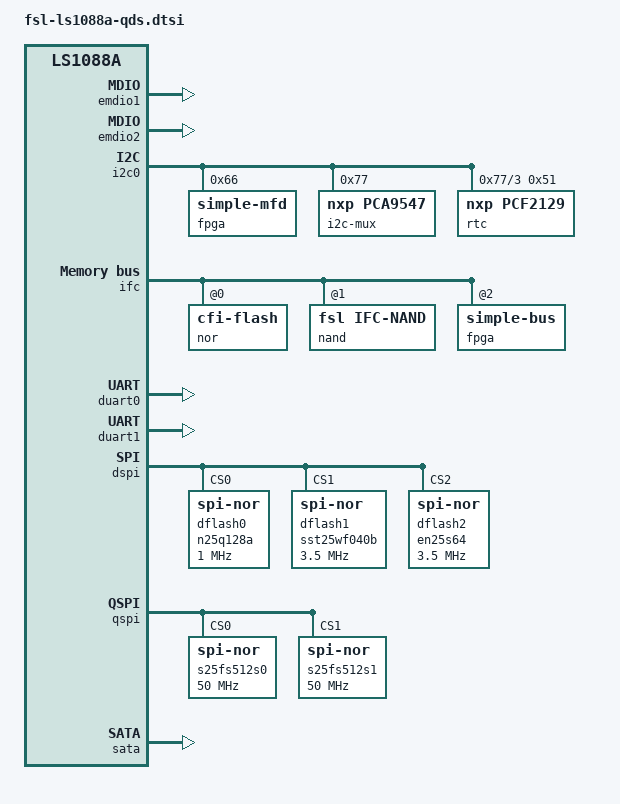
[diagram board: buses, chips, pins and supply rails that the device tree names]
// SPDX-License-Identifier: GPL-2.0+ OR X11
/*
 * NXP ls1088a QDS common board device tree source
 *
 * Copyright 2017-2020 NXP
 */

#include "fsl-ls1088a.dtsi"

/ {
	aliases {
		spi0 = &qspi;
		spi1 = &dspi;
	};
};

&emdio1 {
	status = "okay";
};

&emdio2 {
	status = "okay";
};

&i2c0 {
	status = "okay";
	bootph-all;

	fpga@66 {
		#address-cells = <1>;
		#size-cells = <0>;
		compatible = "simple-mfd";
		reg = <0x66>;

		mux-mdio@54 {
			#address-cells = <1>;
			#size-cells = <0>;
			compatible = "mdio-mux-i2creg";
			reg = <0x54>;
			#mux-control-cells = <1>;
			mux-reg-masks = <0x54 0xe0>; // reg 0x54, bits 7:5
			mdio-parent-bus = <&emdio1>;

			mdio@00 {
				#address-cells = <1>;
				#size-cells = <0>;
				reg = <0x00>;

				rgmii_phy1: ethernet-phy@1 {
					reg = <0x1>;
				};
			};
			mdio@20 {
				#address-cells = <1>;
				#size-cells = <0>;
				reg = <0x20>;

				rgmii_phy2: ethernet-phy@2 {
					reg = <0x2>;
				};
			};

			emdio1_slot1: mdio@40 { /* I/O Slot #1 */
				reg = <0x40>;
				device-name = "emdio1_slot1";
				#address-cells = <1>;
				#size-cells = <0>;
			};

			emdio1_slot3: mdio@60 { /* I/O Slot #3 */
				reg = <0x60>;
				device-name = "emdio1_slot3";
				#address-cells = <1>;
				#size-cells = <0>;
			};
		};
	};

	i2c-mux@77 {
		compatible = "nxp,pca9547";
		reg = <0x77>;
		#address-cells = <1>;
		#size-cells = <0>;

		i2c@3 {
			#address-cells = <1>;
			#size-cells = <0>;
			reg = <0x3>;

			rtc@51 {
				compatible = "nxp,pcf2129";
				reg = <0x51>;
			};
		};
	};
};

&ifc {
	#address-cells = <2>;
	#size-cells = <1>;
	/* NOR, NAND Flashes and FPGA on board */
	ranges = <0 0 0x5 0x80000000 0x08000000
			2 0 0x5 0x30000000 0x00010000
			3 0 0x5 0x20000000 0x00010000>;
	status = "okay";

	nor@0,0 {
		#address-cells = <1>;
		#size-cells = <1>;
		compatible = "cfi-flash";
		reg = <0x0 0x0 0x8000000>;
		bank-width = <2>;
		device-width = <1>;
	};

	nand@2,0 {
		compatible = "fsl,ifc-nand";
		#address-cells = <1>;
		#size-cells = <1>;
		reg = <0x1 0x0 0x10000>;
	};

	fpga: board-control@3,0 {
		#address-cells = <1>;
		#size-cells = <1>;
		compatible = "simple-bus", "fsl,ls1088aqds-fpga",
				"fsl,fpga-qixis";
		reg = <0x2 0x0 0x0000100>;
		bank-width = <1>;
		device-width = <1>;
		ranges = <0 2 0 0x100>;
	};
};

&duart0 {
	status = "okay";
};

&duart1 {
	status = "okay";
};

&dspi {
	bus-num = <0>;
	status = "okay";

	dflash0: n25q128a {
		#address-cells = <1>;
		#size-cells = <1>;
		compatible = "jedec,spi-nor";
		reg = <0>;
		spi-max-frequency = <1000000>; /* input clock */
	};

	dflash1: sst25wf040b {
		#address-cells = <1>;
		#size-cells = <1>;
		compatible = "jedec,spi-nor";
		spi-max-frequency = <3500000>;
		reg = <1>;
	};

	dflash2: en25s64 {
		#address-cells = <1>;
		#size-cells = <1>;
		compatible = "jedec,spi-nor";
		spi-max-frequency = <3500000>;
		reg = <2>;
	};
};

&qspi {
	status = "okay";

	s25fs512s0: flash@0 {
		#address-cells = <1>;
		#size-cells = <1>;
		compatible = "jedec,spi-nor";
		spi-max-frequency = <50000000>;
		reg = <0>;
	};

	s25fs512s1: flash@1 {
		#address-cells = <1>;
		#size-cells = <1>;
		compatible = "jedec,spi-nor";
		spi-max-frequency = <50000000>;
		reg = <1>;
	 };
};

&sata {
	status = "okay";
};
